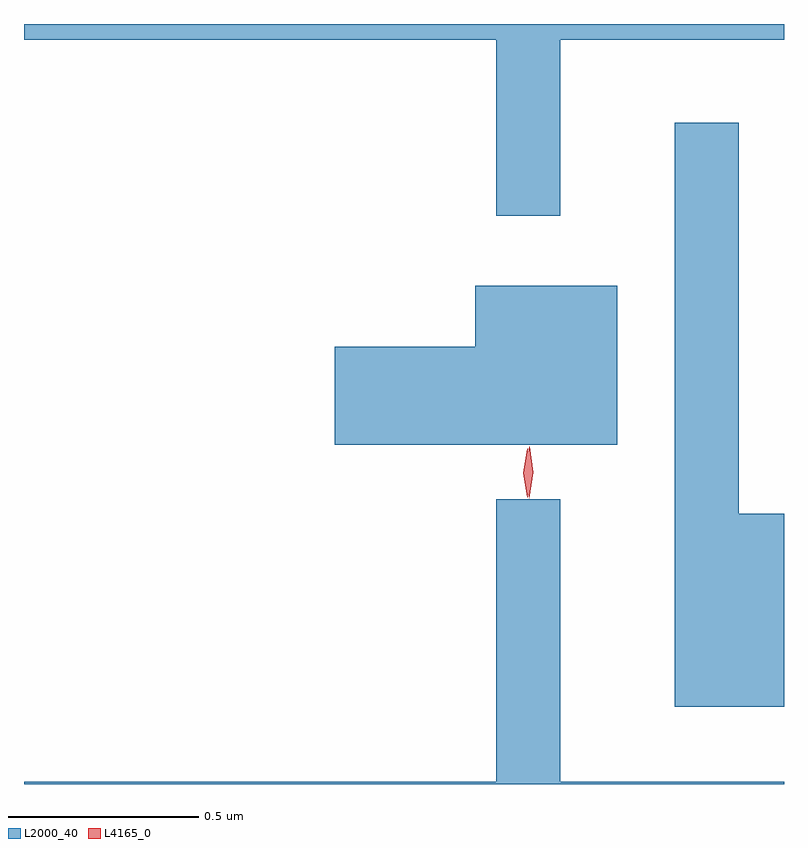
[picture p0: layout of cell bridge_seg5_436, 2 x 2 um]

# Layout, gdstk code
import gdstk
lib = gdstk.Library(unit=1e-6, precision=1e-09)
def P(c, l, *ps):  # polygons
    for p in ps: c.add(gdstk.Polygon(p, *l))
L2000_40 = (2000, 40)
L4165_0 = (4165, 0)

bridge_seg5_436 = lib.new_cell('bridge_seg5_436')
P(bridge_seg5_436, L2000_40, [(480.439,1530.056),(481.028,1530.056),(481.028,1530.098),(479.028,1530.098),(479.028,1530.056),(480.271,1530.056),(480.271,1529.593),(480.439,1529.593)],
  [(481.028,1528.809),(480.909,1528.809),(480.909,1529.838),(480.741,1529.838),(480.741,1528.301),(481.028,1528.301)],
  [(480.589,1529.409),(480.216,1529.409),(480.216,1529.249),(479.846,1529.249),(479.846,1528.991),(480.589,1528.991)],
  [(481.028,1528.104),(480.439,1528.104),(480.439,1528.848),(480.271,1528.848),(480.271,1528.104),(479.028,1528.104),(479.028,1528.098),(481.028,1528.098)])
P(bridge_seg5_436, L4165_0, [(480.352,1528.853),(480.352,1528.853),(480.342,1528.916),(480.352,1528.98),(480.352,1528.98),(480.353,1528.98),(480.362,1528.916),(480.353,1528.853)],
  [(480.357,1528.85),(480.357,1528.85),(480.348,1528.918),(480.358,1528.985),(480.359,1528.986),(480.359,1528.985),(480.368,1528.918),(480.358,1528.85)])

lib.write_gds('bridge_seg5_436.gds')
